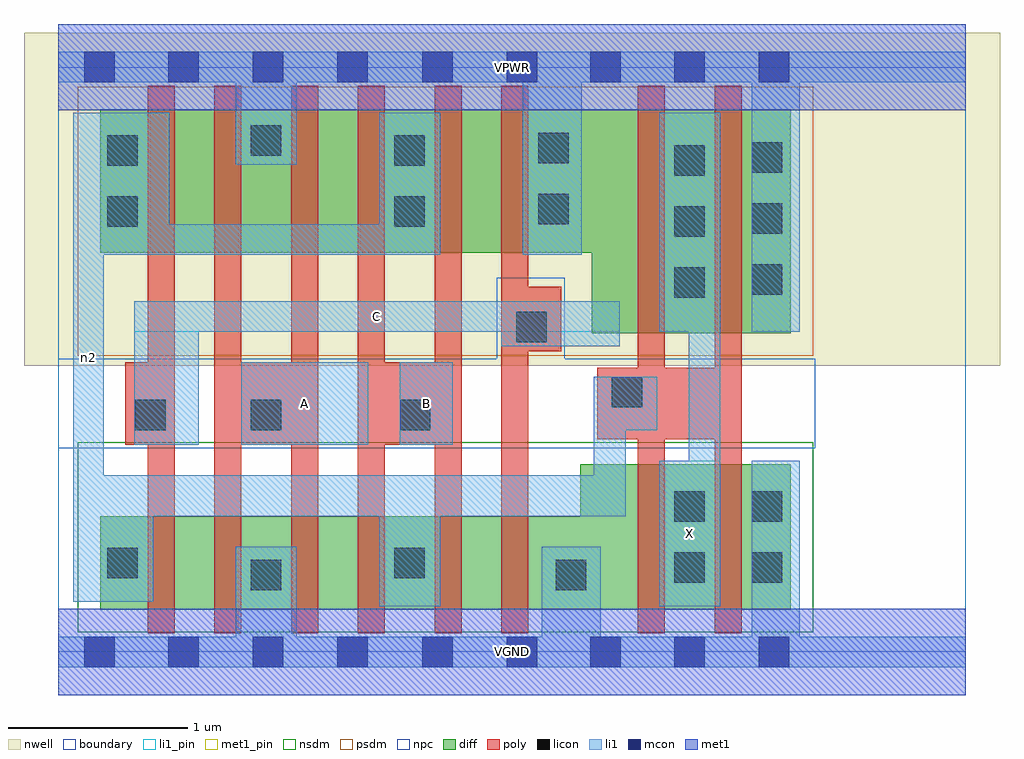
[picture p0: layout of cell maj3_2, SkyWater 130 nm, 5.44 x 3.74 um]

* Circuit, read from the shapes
.subckt maj3_2 A B C VGND VPWR X n2
XM1 n1 C n2 VSUBS sky130_fd_pr__nfet_01v8 w=0.52 l=0.15
XM2 VGND A n1 VSUBS sky130_fd_pr__nfet_01v8 w=0.52 l=0.15
XM3 n3 A VGND VSUBS sky130_fd_pr__nfet_01v8 w=0.52 l=0.15
XM4 n2 B n3 VSUBS sky130_fd_pr__nfet_01v8 w=0.52 l=0.15
XM5 n4 B n2 VSUBS sky130_fd_pr__nfet_01v8 w=0.52 l=0.15
XM6 VGND C n4 VSUBS sky130_fd_pr__nfet_01v8 w=0.52 l=0.15
XM7 X n2 VGND VSUBS sky130_fd_pr__nfet_01v8 w=0.81 l=0.15 m=2
XM8 n5 C n2 n6 sky130_fd_pr__pfet_01v8 w=0.8 l=0.15
XM9 VPWR A n5 n6 sky130_fd_pr__pfet_01v8 w=0.8 l=0.15
XM10 n7 A VPWR n6 sky130_fd_pr__pfet_01v8 w=0.8 l=0.15
XM11 n2 B n7 n6 sky130_fd_pr__pfet_01v8 w=0.8 l=0.15
XM12 n8 B n2 n6 sky130_fd_pr__pfet_01v8 w=0.8 l=0.15
XM13 VPWR C n8 n6 sky130_fd_pr__pfet_01v8 w=0.8 l=0.15
XM14 X n2 VPWR n6 sky130_fd_pr__pfet_01v8 w=1.25 l=0.15 m=2
.ends

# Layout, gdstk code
import gdstk
lib = gdstk.Library(unit=1e-6, precision=1e-09)
def R(c, l, rs):  # rectangles x0, y0, x1, y1
    for r in rs: c.add(gdstk.rectangle(r[:2], r[2:], *l))
def A(c, l, x, y, w, h, nx, ny, dx, dy):  # array of equal rectangles
    R(c, l, [(x+i*dx, y+j*dy, x+i*dx+w, y+j*dy+h) for i in range(nx) for j in range(ny)])
nwell = (64, 20)
diff = (65, 20)
poly = (66, 20)
licon = (66, 44)
li1_pin = (67, 16)
li1 = (67, 20)
mcon = (67, 44)
met1_pin = (68, 16)
met1 = (68, 20)
nsdm = (93, 44)
psdm = (94, 20)
npc = (95, 20)
boundary = (235, 4)

maj3_2 = lib.new_cell('maj3_2')
R(maj3_2, nwell, [(-0.19,1.595,5.25,3.45), (0,1.595,5.06,3.45)])
R(maj3_2, diff, [(0.235,0.235,4.085,0.755), (2.91,0.235,4.085,1.045), (2.975,1.775,4.085,3.025), (0.235,2.225,4.085,3.025)])
R(maj3_2, poly, [(0.5,0.105,0.65,3.155), (0.87,0.105,1.02,3.155), (1.3,0.105,1.45,3.155), (1.67,0.105,1.82,3.155), (2.1,0.105,2.25,3.155), (2.47,0.105,2.62,3.155), (3.23,0.105,3.38,3.155), (3.66,0.105,3.81,3.155), (0.375,1.155,0.65,1.615), (0.87,1.155,1.45,1.615), (1.67,1.155,2.25,1.615), (3.005,1.185,3.81,1.585), (2.47,1.675,2.805,2.035)])
A(maj3_2, licon, 3.435, 1.975, 0.17, 0.17, 1, 3, 0, 0.34)
A(maj3_2, licon, 3.865, 1.99, 0.17, 0.17, 1, 3, 0, 0.34)
R(maj3_2, licon, [(1.075,0.345,1.245,0.515), (2.775,0.345,2.945,0.515), (3.435,0.385,3.605,0.555), (3.865,0.385,4.035,0.555), (0.275,0.41,0.445,0.58), (1.875,0.41,2.045,0.58), (3.435,0.725,3.605,0.895), (3.865,0.725,4.035,0.895), (0.43,1.235,0.6,1.405), (1.075,1.235,1.245,1.405), (1.905,1.235,2.075,1.405), (3.085,1.365,3.255,1.535), (2.555,1.725,2.725,1.895), (0.275,2.37,0.445,2.54), (1.875,2.37,2.045,2.54), (2.675,2.385,2.845,2.555), (0.275,2.71,0.445,2.88), (1.875,2.71,2.045,2.88), (2.675,2.725,2.845,2.895), (1.075,2.765,1.245,2.935)])
R(maj3_2, li1_pin, [(3.35,0.255,3.69,1.065), (1.02,1.155,1.73,1.615), (1.905,1.155,2.2,1.615), (0.425,1.785,3.13,1.955)])
R(maj3_2, li1, [(0,-0.085,5.06,0.085), (0.99,-0.085,1.33,0.585), (2.695,-0.085,3.025,0.585), (3.865,-0.085,4.135,1.065), (1.79,0.255,2.13,0.985), (3.35,0.255,3.69,1.065), (3.515,0.255,3.69,3.005), (0.085,0.28,0.255,3.005), (0.085,0.28,0.53,0.985), (0.085,0.755,3.165,0.985), (2.985,0.755,3.165,1.535), (0.425,1.155,0.785,1.955), (1.02,1.155,1.73,1.615), (1.905,1.155,2.2,1.615), (2.985,1.235,3.34,1.535), (2.47,1.705,3.13,1.955), (0.425,1.785,3.13,1.955), (3.35,1.785,3.69,3.005), (3.865,1.785,4.135,3.345), (0.085,2.215,2.13,2.385), (0.085,2.215,0.62,3.005), (1.79,2.215,2.13,3.005), (2.59,2.215,2.92,3.345), (0.99,2.715,1.33,3.345), (0,3.175,5.06,3.345)])
A(maj3_2, mcon, 0.145, -0.085, 0.17, 0.17, 4, 2, 0.47, 3.26)
A(maj3_2, mcon, 2.965, -0.085, 0.17, 0.17, 3, 2, 0.47, 3.26)
R(maj3_2, mcon, [(2.03,-0.085,2.2,0.085), (2.5,-0.085,2.67,0.085), (2.03,3.175,2.2,3.345), (2.5,3.175,2.67,3.345)])
R(maj3_2, met1_pin, [(0,-0.24,5.06,0.24), (0,3.02,5.06,3.5)])
R(maj3_2, met1, [(0,-0.24,5.06,0.24), (0,3.02,5.06,3.5)])
R(maj3_2, nsdm, [(0.11,0.11,4.21,1.17)])
R(maj3_2, psdm, [(0.11,1.65,4.21,3.15)])
R(maj3_2, npc, [(0,1.135,4.22,1.635), (2.445,1.135,2.825,2.085)])
R(maj3_2, boundary, [(0,0,5.06,3.26)])
maj3_2.add(gdstk.Label('A', (1.375,1.385), layer=67, texttype=5))
maj3_2.add(gdstk.Label('B', (2.052,1.385), layer=67, texttype=5))
maj3_2.add(gdstk.Label('C', (1.777,1.87), layer=67, texttype=5))
maj3_2.add(gdstk.Label('X', (3.52,0.66), layer=67, texttype=5))
maj3_2.add(gdstk.Label('n2', (0.17,1.642), layer=67, texttype=5))
maj3_2.add(gdstk.Label('VPWR', (2.53,3.26), layer=68, texttype=5))
maj3_2.add(gdstk.Label('VGND', (2.53,0), layer=68, texttype=5))
maj3_2.add(gdstk.Label('A', (1.375,1.385), layer=67, texttype=16))
maj3_2.add(gdstk.Label('B', (2.052,1.385), layer=67, texttype=16))
maj3_2.add(gdstk.Label('C', (1.777,1.87), layer=67, texttype=16))
maj3_2.add(gdstk.Label('X', (3.52,0.66), layer=67, texttype=16))
maj3_2.add(gdstk.Label('VPWR', (2.53,3.26), layer=68, texttype=16))
maj3_2.add(gdstk.Label('VGND', (2.53,0), layer=68, texttype=16))

lib.write_gds('maj3_2.gds')
